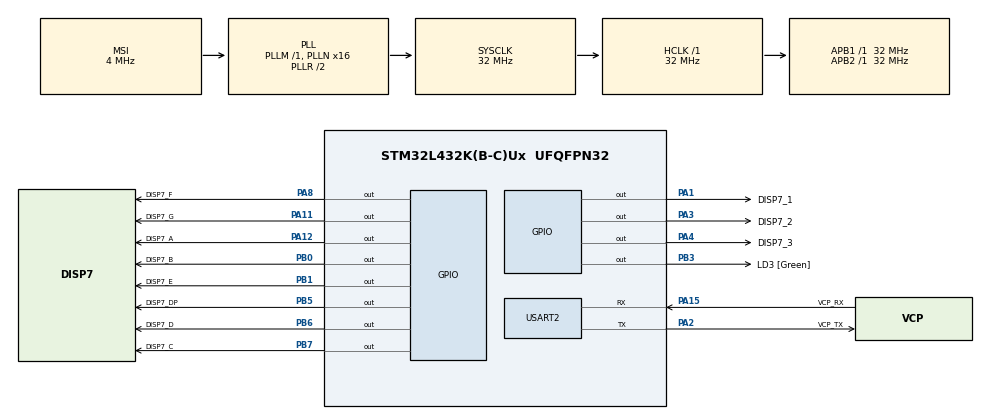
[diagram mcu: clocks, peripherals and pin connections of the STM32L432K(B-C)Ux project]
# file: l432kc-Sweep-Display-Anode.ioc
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Mcu.Family=STM32L4
Mcu.Name=STM32L432K(B-C)Ux
Mcu.Package=UFQFPN32
NVIC.PriorityGroup=NVIC_PRIORITYGROUP_4
NVIC.TIM6_DAC_IRQn=true\:0\:0\:false\:false\:true\:true\:true\:true
PA0.GPIO_Label=MCO [High speed clock in]
PA0.Mode=HSE-External-Clock-Source-for-LittleOrca
PA0.Signal=RCC_CK_IN
PA1.GPIO_Label=DISP7_1
PA1.GPIO_ModeDefaultOutputPP=GPIO_MODE_OUTPUT_PP
PA1.GPIO_Speed=GPIO_SPEED_FREQ_VERY_HIGH
PA1.PinState=GPIO_PIN_SET
PA1.Signal=GPIO_Output
PA11.GPIO_Label=DISP7_G
PA11.GPIO_ModeDefaultOutputPP=GPIO_MODE_OUTPUT_PP
PA11.GPIO_Speed=GPIO_SPEED_FREQ_VERY_HIGH
PA11.PinState=GPIO_PIN_SET
PA11.Signal=GPIO_Output
PA12.GPIO_Label=DISP7_A
PA12.GPIO_ModeDefaultOutputPP=GPIO_MODE_OUTPUT_PP
PA12.GPIO_Speed=GPIO_SPEED_FREQ_VERY_HIGH
PA12.PinState=GPIO_PIN_SET
PA12.Signal=GPIO_Output
PA13\ (JTMS-SWDIO).GPIO_Label=SWDIO
PA13\ (JTMS-SWDIO).Mode=Serial_Wire
PA13\ (JTMS-SWDIO).Signal=SYS_JTMS-SWDIO
PA14\ (JTCK-SWCLK).GPIO_Label=SWCLK
PA14\ (JTCK-SWCLK).Mode=Serial_Wire
PA14\ (JTCK-SWCLK).Signal=SYS_JTCK-SWCLK
PA15\ (JTDI).GPIO_Label=VCP_RX
PA15\ (JTDI).Mode=Asynchronous
PA15\ (JTDI).Signal=USART2_RX
PA2.GPIO_Label=VCP_TX
PA2.Mode=Asynchronous
PA2.Signal=USART2_TX
PA3.GPIO_Label=DISP7_2
PA3.GPIO_ModeDefaultOutputPP=GPIO_MODE_OUTPUT_PP
PA3.GPIO_Speed=GPIO_SPEED_FREQ_VERY_HIGH
PA3.PinState=GPIO_PIN_SET
PA3.Signal=GPIO_Output
PA4.GPIO_Label=DISP7_3
PA4.GPIO_ModeDefaultOutputPP=GPIO_MODE_OUTPUT_PP
PA4.GPIO_Speed=GPIO_SPEED_FREQ_VERY_HIGH
PA4.PinState=GPIO_PIN_SET
PA4.Signal=GPIO_Output
PA8.GPIO_Label=DISP7_F
PA8.GPIO_ModeDefaultOutputPP=GPIO_MODE_OUTPUT_PP
PA8.GPIO_Speed=GPIO_SPEED_FREQ_VERY_HIGH
PA8.PinState=GPIO_PIN_SET
PA8.Signal=GPIO_Output
PB0.GPIO_Label=DISP7_B
PB0.GPIO_ModeDefaultOutputPP=GPIO_MODE_OUTPUT_PP
PB0.GPIO_Speed=GPIO_SPEED_FREQ_VERY_HIGH
PB0.PinState=GPIO_PIN_SET
PB0.Signal=GPIO_Output
PB1.GPIO_Label=DISP7_E
PB1.GPIO_ModeDefaultOutputPP=GPIO_MODE_OUTPUT_PP
PB1.GPIO_Speed=GPIO_SPEED_FREQ_VERY_HIGH
PB1.PinState=GPIO_PIN_SET
PB1.Signal=GPIO_Output
PB3\ (JTDO-TRACESWO).GPIO_Label=LD3 [Green]
PB3\ (JTDO-TRACESWO).Signal=GPIO_Output
PB5.GPIO_Label=DISP7_DP
PB5.GPIO_ModeDefaultOutputPP=GPIO_MODE_OUTPUT_PP
PB5.GPIO_Speed=GPIO_SPEED_FREQ_VERY_HIGH
PB5.PinState=GPIO_PIN_SET
PB5.Signal=GPIO_Output
PB6.GPIO_Label=DISP7_D
PB6.GPIO_ModeDefaultOutputPP=GPIO_MODE_OUTPUT_PP
PB6.GPIO_Speed=GPIO_SPEED_FREQ_VERY_HIGH
PB6.PinState=GPIO_PIN_SET
PB6.Signal=GPIO_Output
PB7.GPIO_Label=DISP7_C
PB7.GPIO_ModeDefaultOutputPP=GPIO_MODE_OUTPUT_PP
PB7.GPIO_Speed=GPIO_SPEED_FREQ_VERY_HIGH
PB7.PinState=GPIO_PIN_SET
PB7.Signal=GPIO_Output
PC14-OSC32_IN\ (PC14).Mode=LSE-External-Oscillator
PC14-OSC32_IN\ (PC14).Signal=RCC_OSC32_IN
PC15-OSC32_OUT\ (PC15).Mode=LSE-External-Oscillator
PC15-OSC32_OUT\ (PC15).Signal=RCC_OSC32_OUT
ProjectManager.HeapSize=0x200
ProjectManager.StackSize=0x400
ProjectManager.TargetToolchain=STM32CubeIDE
RCC.AHBFreq_Value=32000000
RCC.APB1Freq_Value=32000000
RCC.APB1TimFreq_Value=32000000
RCC.APB2Freq_Value=32000000
RCC.APB2TimFreq_Value=32000000
RCC.CortexFreq_Value=32000000
RCC.HCLKFreq_Value=32000000
RCC.HSE_VALUE=8000000
RCC.HSI16_VALUE=16000000
RCC.HSI48_VALUE=48000000
RCC.HSI_VALUE=16000000
RCC.MSI_VALUE=4000000
RCC.PLLMUL=RCC_PLLMUL_4
RCC.PLLN=16
RCC.SYSCLKFreq_VALUE=32000000
RCC.SYSCLKSource=RCC_SYSCLKSOURCE_PLLCLK
RCC.VCOOutputFreq_Value=64000000
TIM6.Period=999
TIM6.Prescaler=31
USART2.VirtualMode-Asynchronous=VM_ASYNC
VP_TIM6_VS_ClockSourceINT.Mode=Enable_Timer
board=NUCLEO-L432KC

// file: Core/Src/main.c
/* USER CODE BEGIN Header */
/**
  ******************************************************************************
  * @file           : main.c
  * @brief          : Main program body
  ******************************************************************************
  * @attention
  *
  * Copyright (c) 2025 STMicroelectronics.
  * All rights reserved.
  *
  * This software is licensed under terms that can be found in the LICENSE file
  * in the root directory of this software component.
  * If no LICENSE file comes with this software, it is provided AS-IS.
  *
  ******************************************************************************
  */
/* USER CODE END Header */
#include "main.h"

/* USER CODE BEGIN Includes */
#include <stdio.h>

#include "disp7.h"
#include "disp7_sweep.h"
/* USER CODE END Includes */

/* USER CODE BEGIN PD */
#define DISP7_TEST_STRING
/* USER CODE END PD */

TIM_HandleTypeDef htim6;

UART_HandleTypeDef huart2;

/* USER CODE BEGIN PV */
disp7_t Disp7 = {0};
disp7_alone_t Disp7Alone[3] = {0};
disp7_sweep_t Sweep = {0};
/* USER CODE END PV */

void SystemClock_Config(void);
static void MX_GPIO_Init(void);
static void MX_USART2_UART_Init(void);
static void MX_TIM6_Init(void);

/* USER CODE BEGIN 0 */

/* Display Segments Pin Function */
void Disp7_Write_Pin(disp7_pins_e Pin, uint8_t Value){
	switch(Pin){
	case 	DISP7_PIN_A:
		HAL_GPIO_WritePin(DISP7_A_GPIO_Port, DISP7_A_Pin, Value);
		break;
	case	DISP7_PIN_B:
		HAL_GPIO_WritePin(DISP7_B_GPIO_Port, DISP7_B_Pin, Value);
		break;
	case	DISP7_PIN_C:
		HAL_GPIO_WritePin(DISP7_C_GPIO_Port, DISP7_C_Pin, Value);
		break;
	case	DISP7_PIN_D:
		HAL_GPIO_WritePin(DISP7_D_GPIO_Port, DISP7_D_Pin, Value);
		break;
	case	DISP7_PIN_E:
		HAL_GPIO_WritePin(DISP7_E_GPIO_Port, DISP7_E_Pin, Value);
		break;
	case	DISP7_PIN_F:
		HAL_GPIO_WritePin(DISP7_F_GPIO_Port, DISP7_F_Pin, Value);
		break;
	case	DISP7_PIN_G:
		HAL_GPIO_WritePin(DISP7_G_GPIO_Port, DISP7_G_Pin, Value);
		break;
	case	DISP7_PIN_dp:
		HAL_GPIO_WritePin(DISP7_DP_GPIO_Port, DISP7_DP_Pin, Value);
		break;
	default:

		break;
	}
}

/* Display PNP Control Functions */
/* The displays are controlled by a PNP Transistor, so, the Turnon stage where the GPIO is on LOW state */
void Disp7_Control_0(uint8_t TurnOn){
	if (TurnOn)
		HAL_GPIO_WritePin(DISP7_1_GPIO_Port, DISP7_1_Pin, GPIO_PIN_RESET);
	else
		HAL_GPIO_WritePin(DISP7_1_GPIO_Port, DISP7_1_Pin, GPIO_PIN_SET);
}

void Disp7_Control_1(uint8_t TurnOn){
	if (TurnOn)
		HAL_GPIO_WritePin(DISP7_2_GPIO_Port, DISP7_2_Pin, GPIO_PIN_RESET);
	else
		HAL_GPIO_WritePin(DISP7_2_GPIO_Port, DISP7_2_Pin, GPIO_PIN_SET);
}

void Disp7_Control_2(uint8_t TurnOn){
	if (TurnOn)
		HAL_GPIO_WritePin(DISP7_3_GPIO_Port, DISP7_3_Pin, GPIO_PIN_RESET);
	else
		HAL_GPIO_WritePin(DISP7_3_GPIO_Port, DISP7_3_Pin, GPIO_PIN_SET);
}

/* timer Callback for sweep */
void HAL_TIM_PeriodElapsedCallback(TIM_HandleTypeDef *htim){
	if (htim->Instance == TIM6){
		disp7Sweep_timer_interrupt(&Sweep);
	}
}
/* USER CODE END 0 */

int main(void)
{

  /* USER CODE BEGIN 1 */
	disp7_params_t Disp7Params;

#ifdef DISP7_TEST_STRING
	float ValueToShow = 0;
	char StringToShow[32];
#else
	uint32_t ValueToShow = 90;
#endif
  /* USER CODE END 1 */

  /* MCU Configuration--------------------------------------------------------*/

  /* Reset of all peripherals, Initializes the Flash interface and the Systick. */
  HAL_Init();

  /* Configure the system clock */
  SystemClock_Config();

  /* Initialize all configured peripherals */
  MX_GPIO_Init();
  MX_USART2_UART_Init();
  MX_TIM6_Init();
  /* USER CODE BEGIN 2 */
  Disp7Params.WriteToPinFxn = Disp7_Write_Pin;
  Disp7Params.eType = DISP7_COMMON_ANODE;

  disp7_init(&Disp7, &Disp7Params);

  disp7Sweep_init(&Sweep);

  Disp7Alone[0].fxnControlDisplay = Disp7_Control_0;
  Disp7Alone[0].psDisplay = &Disp7;

  Disp7Alone[1].fxnControlDisplay = Disp7_Control_1;
  Disp7Alone[1].psDisplay = &Disp7;

  Disp7Alone[2].fxnControlDisplay = Disp7_Control_2;
  Disp7Alone[2].psDisplay = &Disp7;

  disp7Sweep_add_display(&Sweep, &Disp7Alone[0]);
  disp7Sweep_add_display(&Sweep, &Disp7Alone[1]);
  disp7Sweep_add_display(&Sweep, &Disp7Alone[2]);

  HAL_TIM_Base_Start_IT(&htim6);
  /* USER CODE END 2 */

  /* Infinite loop */
  /* USER CODE BEGIN WHILE */
  while (1)
  {
#ifdef DISP7_TEST_STRING

	  sprintf(StringToShow, "%.2f", ValueToShow);
	  Disp7Sweep_print_string(&Sweep, StringToShow);

	  ValueToShow += 0.01;
	  if (ValueToShow > 9.99){
		  ValueToShow = 0;
	  }
	  HAL_Delay(50);
#else

	  disp7Sweep_print_number(&Sweep, ValueToShow);
	  Disp7Sweep_set_dot(&Sweep, 0, ValueToShow % 2);

	  ValueToShow++;
	  if (ValueToShow > 999){
		  ValueToShow = 0;
	  }
	  HAL_Delay(500);
#endif
    /* USER CODE END WHILE */

  }
}

void SystemClock_Config(void)
{
  RCC_OscInitTypeDef RCC_OscInitStruct = {0};
  RCC_ClkInitTypeDef RCC_ClkInitStruct = {0};

  /** Configure the main internal regulator output voltage
  */
  if (HAL_PWREx_ControlVoltageScaling(PWR_REGULATOR_VOLTAGE_SCALE1) != HAL_OK)
  {
    Error_Handler();
  }

  /** Configure LSE Drive Capability
  */
  HAL_PWR_EnableBkUpAccess();
  __HAL_RCC_LSEDRIVE_CONFIG(RCC_LSEDRIVE_LOW);

  /** Initializes the RCC Oscillators according to the specified parameters
  * in the RCC_OscInitTypeDef structure.
  */
  RCC_OscInitStruct.OscillatorType = RCC_OSCILLATORTYPE_LSE|RCC_OSCILLATORTYPE_MSI;
  RCC_OscInitStruct.LSEState = RCC_LSE_ON;
  RCC_OscInitStruct.MSIState = RCC_MSI_ON;
  RCC_OscInitStruct.MSICalibrationValue = 0;
  RCC_OscInitStruct.MSIClockRange = RCC_MSIRANGE_6;
  RCC_OscInitStruct.PLL.PLLState = RCC_PLL_ON;
  RCC_OscInitStruct.PLL.PLLSource = RCC_PLLSOURCE_MSI;
  RCC_OscInitStruct.PLL.PLLM = 1;
  RCC_OscInitStruct.PLL.PLLN = 16;
  RCC_OscInitStruct.PLL.PLLP = RCC_PLLP_DIV7;
  RCC_OscInitStruct.PLL.PLLQ = RCC_PLLQ_DIV2;
  RCC_OscInitStruct.PLL.PLLR = RCC_PLLR_DIV2;
  if (HAL_RCC_OscConfig(&RCC_OscInitStruct) != HAL_OK)
  {
    Error_Handler();
  }

  /** Initializes the CPU, AHB and APB buses clocks
  */
  RCC_ClkInitStruct.ClockType = RCC_CLOCKTYPE_HCLK|RCC_CLOCKTYPE_SYSCLK
                              |RCC_CLOCKTYPE_PCLK1|RCC_CLOCKTYPE_PCLK2;
  RCC_ClkInitStruct.SYSCLKSource = RCC_SYSCLKSOURCE_PLLCLK;
  RCC_ClkInitStruct.AHBCLKDivider = RCC_SYSCLK_DIV1;
  RCC_ClkInitStruct.APB1CLKDivider = RCC_HCLK_DIV1;
  RCC_ClkInitStruct.APB2CLKDivider = RCC_HCLK_DIV1;

  if (HAL_RCC_ClockConfig(&RCC_ClkInitStruct, FLASH_LATENCY_1) != HAL_OK)
  {
    Error_Handler();
  }

  /** Enable MSI Auto calibration
  */
  HAL_RCCEx_EnableMSIPLLMode();
}

static void MX_TIM6_Init(void)
{

  TIM_MasterConfigTypeDef sMasterConfig = {0};

  htim6.Instance = TIM6;
  htim6.Init.Prescaler = 31;
  htim6.Init.CounterMode = TIM_COUNTERMODE_UP;
  htim6.Init.Period = 999;
  htim6.Init.AutoReloadPreload = TIM_AUTORELOAD_PRELOAD_DISABLE;
  if (HAL_TIM_Base_Init(&htim6) != HAL_OK)
  {
    Error_Handler();
  }
  sMasterConfig.MasterOutputTrigger = TIM_TRGO_RESET;
  sMasterConfig.MasterSlaveMode = TIM_MASTERSLAVEMODE_DISABLE;
  if (HAL_TIMEx_MasterConfigSynchronization(&htim6, &sMasterConfig) != HAL_OK)
  {
    Error_Handler();
  }

}

static void MX_USART2_UART_Init(void)
{

  huart2.Instance = USART2;
  huart2.Init.BaudRate = 115200;
  huart2.Init.WordLength = UART_WORDLENGTH_8B;
  huart2.Init.StopBits = UART_STOPBITS_1;
  huart2.Init.Parity = UART_PARITY_NONE;
  huart2.Init.Mode = UART_MODE_TX_RX;
  huart2.Init.HwFlowCtl = UART_HWCONTROL_NONE;
  huart2.Init.OverSampling = UART_OVERSAMPLING_16;
  huart2.Init.OneBitSampling = UART_ONE_BIT_SAMPLE_DISABLE;
  huart2.AdvancedInit.AdvFeatureInit = UART_ADVFEATURE_NO_INIT;
  if (HAL_UART_Init(&huart2) != HAL_OK)
  {
    Error_Handler();
  }

}

static void MX_GPIO_Init(void)
{
  GPIO_InitTypeDef GPIO_InitStruct = {0};

  /* GPIO Ports Clock Enable */
  __HAL_RCC_GPIOC_CLK_ENABLE();
  __HAL_RCC_GPIOA_CLK_ENABLE();
  __HAL_RCC_GPIOB_CLK_ENABLE();

  /*Configure GPIO pin Output Level */
  HAL_GPIO_WritePin(GPIOA, DISP7_1_Pin|DISP7_2_Pin|DISP7_3_Pin|DISP7_F_Pin
                          |DISP7_G_Pin|DISP7_A_Pin, GPIO_PIN_SET);

  /*Configure GPIO pin Output Level */
  HAL_GPIO_WritePin(GPIOB, DISP7_B_Pin|DISP7_E_Pin|DISP7_DP_Pin|DISP7_D_Pin
                          |DISP7_C_Pin, GPIO_PIN_SET);

  /*Configure GPIO pin Output Level */
  HAL_GPIO_WritePin(LD3_GPIO_Port, LD3_Pin, GPIO_PIN_RESET);

  /*Configure GPIO pins : DISP7_1_Pin DISP7_2_Pin DISP7_3_Pin DISP7_F_Pin
                           DISP7_G_Pin DISP7_A_Pin */
  GPIO_InitStruct.Pin = DISP7_1_Pin|DISP7_2_Pin|DISP7_3_Pin|DISP7_F_Pin
                          |DISP7_G_Pin|DISP7_A_Pin;
  GPIO_InitStruct.Mode = GPIO_MODE_OUTPUT_PP;
  GPIO_InitStruct.Pull = GPIO_NOPULL;
  GPIO_InitStruct.Speed = GPIO_SPEED_FREQ_VERY_HIGH;
  HAL_GPIO_Init(GPIOA, &GPIO_InitStruct);

  /*Configure GPIO pins : DISP7_B_Pin DISP7_E_Pin DISP7_DP_Pin DISP7_D_Pin
                           DISP7_C_Pin */
  GPIO_InitStruct.Pin = DISP7_B_Pin|DISP7_E_Pin|DISP7_DP_Pin|DISP7_D_Pin
                          |DISP7_C_Pin;
  GPIO_InitStruct.Mode = GPIO_MODE_OUTPUT_PP;
  GPIO_InitStruct.Pull = GPIO_NOPULL;
  GPIO_InitStruct.Speed = GPIO_SPEED_FREQ_VERY_HIGH;
  HAL_GPIO_Init(GPIOB, &GPIO_InitStruct);

  /*Configure GPIO pin : LD3_Pin */
  GPIO_InitStruct.Pin = LD3_Pin;
  GPIO_InitStruct.Mode = GPIO_MODE_OUTPUT_PP;
  GPIO_InitStruct.Pull = GPIO_NOPULL;
  GPIO_InitStruct.Speed = GPIO_SPEED_FREQ_LOW;
  HAL_GPIO_Init(LD3_GPIO_Port, &GPIO_InitStruct);

}

void Error_Handler(void)
{
  __disable_irq();
  while (1)
  {
  }
}
